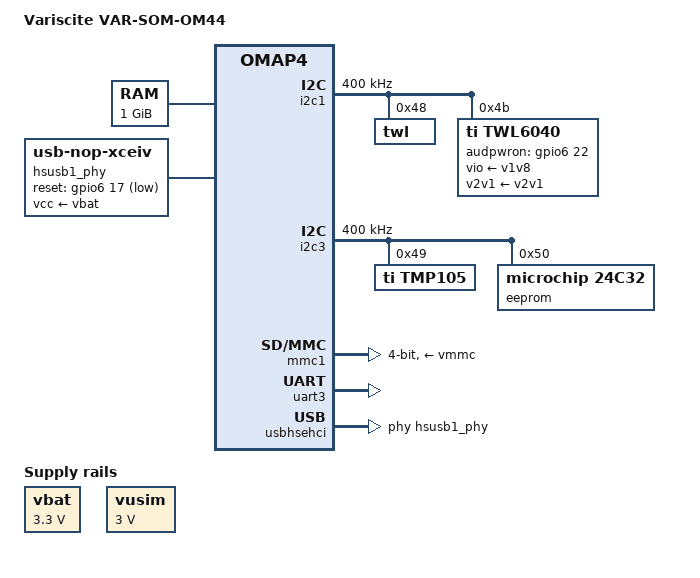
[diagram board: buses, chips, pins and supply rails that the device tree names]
// SPDX-License-Identifier: GPL-2.0-only
/*
 * Copyright (C) 2014 Joachim Eastwood <manabian@gmail.com>
 * Copyright (C) 2012 Variscite Ltd. - http://www.variscite.com
 */
#include "omap4460.dtsi"
#include "omap4-mcpdm.dtsi"

/ {
	model = "Variscite VAR-SOM-OM44";
	compatible = "variscite,var-som-om44", "ti,omap4460", "ti,omap4";

	memory@80000000 {
		device_type = "memory";
		reg = <0x80000000 0x40000000>; /* 1 GB */
	};

	sound: sound {
		compatible = "ti,abe-twl6040";
		ti,model = "VAR-SOM-OM44";

		ti,mclk-freq = <38400000>;
		ti,mcpdm = <&mcpdm>;
		ti,twl6040 = <&twl6040>;

		/* Audio routing */
		ti,audio-routing =
			"Headset Stereophone", "HSOL",
			"Headset Stereophone", "HSOR",
			"AFML", "Line In",
			"AFMR", "Line In";
	};

	/* HS USB Host PHY on PORT 1 */
	hsusb1_phy: hsusb1_phy {
		compatible = "usb-nop-xceiv";
		pinctrl-names = "default";
		pinctrl-0 = <
			&hsusbb1_phy_clk_pins
			&hsusbb1_phy_rst_pins
		>;

		reset-gpios = <&gpio6 17 GPIO_ACTIVE_LOW>; /* gpio 177 */
		vcc-supply = <&vbat>;
		#phy-cells = <0>;

		clocks = <&auxclk3_ck>;
		clock-names = "main_clk";
		clock-frequency = <19200000>;
	};

	vbat: fixedregulator-vbat {
		compatible = "regulator-fixed";
		regulator-name = "VBAT";
		regulator-min-microvolt = <3300000>;
		regulator-max-microvolt = <3300000>;
		regulator-always-on;
		regulator-boot-on;
	};
};

&omap4_pmx_core {
	pinctrl-names = "default";
	pinctrl-0 = <
			&hsusbb1_pins
	>;

	twl6040_pins: pinmux_twl6040_pins {
		pinctrl-single,pins = <
			OMAP4_IOPAD(0x19c, PIN_OUTPUT | MUX_MODE3)		/* fref_clk2_out.gpio_182 */
			OMAP4_IOPAD(0x1a0, PIN_INPUT | MUX_MODE0)		/* sys_nirq2.sys_nirq2 */
		>;
	};

	tsc2004_pins: pinmux_tsc2004_pins {
		pinctrl-single,pins = <
			OMAP4_IOPAD(0x090, PIN_INPUT | MUX_MODE3)		/* gpmc_ncs4.gpio_101 (irq) */
			OMAP4_IOPAD(0x092, PIN_OUTPUT | MUX_MODE3)		/* gpmc_ncs5.gpio_102 (rst) */
		>;
	};

	uart3_pins: pinmux_uart3_pins {
		pinctrl-single,pins = <
			OMAP4_IOPAD(0x140, PIN_INPUT_PULLUP | MUX_MODE0)	/* uart3_cts_rctx.uart3_cts_rctx */
			OMAP4_IOPAD(0x142, PIN_OUTPUT | MUX_MODE0)		/* uart3_rts_sd.uart3_rts_sd */
			OMAP4_IOPAD(0x144, PIN_INPUT | MUX_MODE0)		/* uart3_rx_irrx.uart3_rx_irrx */
			OMAP4_IOPAD(0x146, PIN_OUTPUT | MUX_MODE0)		/* uart3_tx_irtx.uart3_tx_irtx */
		>;
	};

	hsusbb1_pins: pinmux_hsusbb1_pins {
		pinctrl-single,pins = <
			OMAP4_IOPAD(0x0c2, PIN_INPUT_PULLDOWN | MUX_MODE4)	/* usbb1_ulpitll_clk.usbb1_ulpiphy_clk */
			OMAP4_IOPAD(0x0c4, PIN_OUTPUT | MUX_MODE4)		/* usbb1_ulpitll_stp.usbb1_ulpiphy_stp */
			OMAP4_IOPAD(0x0c6, PIN_INPUT_PULLDOWN | MUX_MODE4)	/* usbb1_ulpitll_dir.usbb1_ulpiphy_dir */
			OMAP4_IOPAD(0x0c8, PIN_INPUT_PULLDOWN | MUX_MODE4)	/* usbb1_ulpitll_nxt.usbb1_ulpiphy_nxt */
			OMAP4_IOPAD(0x0ca, PIN_INPUT_PULLDOWN | MUX_MODE4)	/* usbb1_ulpitll_dat0.usbb1_ulpiphy_dat0 */
			OMAP4_IOPAD(0x0cc, PIN_INPUT_PULLDOWN | MUX_MODE4)	/* usbb1_ulpitll_dat1.usbb1_ulpiphy_dat1 */
			OMAP4_IOPAD(0x0ce, PIN_INPUT_PULLDOWN | MUX_MODE4)	/* usbb1_ulpitll_dat2.usbb1_ulpiphy_dat2 */
			OMAP4_IOPAD(0x0d0, PIN_INPUT_PULLDOWN | MUX_MODE4)	/* usbb1_ulpitll_dat3.usbb1_ulpiphy_dat3 */
			OMAP4_IOPAD(0x0d2, PIN_INPUT_PULLDOWN | MUX_MODE4)	/* usbb1_ulpitll_dat4.usbb1_ulpiphy_dat4 */
			OMAP4_IOPAD(0x0d4, PIN_INPUT_PULLDOWN | MUX_MODE4)	/* usbb1_ulpitll_dat5.usbb1_ulpiphy_dat5 */
			OMAP4_IOPAD(0x0d6, PIN_INPUT_PULLDOWN | MUX_MODE4)	/* usbb1_ulpitll_dat6.usbb1_ulpiphy_dat6 */
			OMAP4_IOPAD(0x0d8, PIN_INPUT_PULLDOWN | MUX_MODE4)	/* usbb1_ulpitll_dat7.usbb1_ulpiphy_dat7 */
		>;
	};

	hsusbb1_phy_rst_pins: pinmux_hsusbb1_phy_rst_pins {
		pinctrl-single,pins = <
			OMAP4_IOPAD(0x18c, PIN_OUTPUT | MUX_MODE3)		/* kpd_row2.gpio_177 */
		>;
	};

	i2c1_pins: pinmux_i2c1_pins {
		pinctrl-single,pins = <
			OMAP4_IOPAD(0x122, PIN_INPUT_PULLUP | MUX_MODE0)	/* i2c1_scl */
			OMAP4_IOPAD(0x124, PIN_INPUT_PULLUP | MUX_MODE0)	/* i2c1_sda */
		>;
	};

	i2c3_pins: pinmux_i2c3_pins {
		pinctrl-single,pins = <
			OMAP4_IOPAD(0x12a, PIN_INPUT_PULLUP | MUX_MODE0)	/* i2c3_scl */
			OMAP4_IOPAD(0x12c, PIN_INPUT_PULLUP | MUX_MODE0)	/* i2c3_sda */
		>;
	};

	mmc1_pins: pinmux_mmc1_pins {
		pinctrl-single,pins = <
			OMAP4_IOPAD(0x0e2, PIN_INPUT_PULLUP | MUX_MODE0)	/* sdmmc1_clk.sdmmc1_clk */
			OMAP4_IOPAD(0x0e4, PIN_INPUT_PULLUP | MUX_MODE0)	/* sdmmc1_cmd.sdmmc1_cmd */
			OMAP4_IOPAD(0x0e6, PIN_INPUT_PULLUP | MUX_MODE0)	/* sdmmc1_dat0.sdmmc1_dat0 */
			OMAP4_IOPAD(0x0e8, PIN_INPUT_PULLUP | MUX_MODE0)	/* sdmmc1_dat1.sdmmc1_dat1 */
			OMAP4_IOPAD(0x0ea, PIN_INPUT_PULLUP | MUX_MODE0)	/* sdmmc1_dat2.sdmmc1_dat2 */
			OMAP4_IOPAD(0x0ec, PIN_INPUT_PULLUP | MUX_MODE0)	/* sdmmc1_dat3.sdmmc1_dat3 */
		>;
	};
};

&omap4_pmx_wkup {
	pinctrl-names = "default";
	pinctrl-0 = <
		&hsusbb1_hub_rst_pins
		&lan7500_rst_pins
	>;

	hsusbb1_phy_clk_pins: pinmux_hsusbb1_phy_clk_pins {
		pinctrl-single,pins = <
			OMAP4_IOPAD(0x058, PIN_OUTPUT | MUX_MODE0)	/* fref_clk3_out */
		>;
	};

	hsusbb1_hub_rst_pins: pinmux_hsusbb1_hub_rst_pins {
		pinctrl-single,pins = <
			OMAP4_IOPAD(0x042, PIN_OUTPUT | MUX_MODE3)	/* gpio_wk1 */
		>;
	};

	lan7500_rst_pins: pinmux_lan7500_rst_pins {
		pinctrl-single,pins = <
			OMAP4_IOPAD(0x040, PIN_OUTPUT | MUX_MODE3)	/* gpio_wk0 */
		>;
	};
};

&i2c1 {
	pinctrl-names = "default";
	pinctrl-0 = <&i2c1_pins>;
	status = "okay";

	clock-frequency = <400000>;

	twl: twl@48 {
		reg = <0x48>;
		/* SPI = 0, IRQ# = 7, 4 = active high level-sensitive */
		interrupts = <GIC_SPI 7 IRQ_TYPE_LEVEL_HIGH>; /* IRQ_SYS_1N cascaded to gic */
	};

	twl6040: twl@4b {
		compatible = "ti,twl6040";
		#clock-cells = <0>;
		reg = <0x4b>;

		pinctrl-names = "default";
		pinctrl-0 = <&twl6040_pins>;

		/* SPI = 0, IRQ# = 119, 4 = active high level-sensitive */
		interrupts = <GIC_SPI 119 IRQ_TYPE_LEVEL_HIGH>; /* IRQ_SYS_2N cascaded to gic */
		ti,audpwron-gpio = <&gpio6 22 GPIO_ACTIVE_HIGH>; /* gpio 182 */

		vio-supply = <&v1v8>;
		v2v1-supply = <&v2v1>;
		enable-active-high;
	};
};

#include "twl6030.dtsi"
#include "twl6030_omap4.dtsi"

&vusim {
	regulator-min-microvolt = <3000000>;
	regulator-max-microvolt = <3000000>;
	regulator-always-on;
};

&i2c2 {
	status = "disabled";
};

&i2c3 {
	pinctrl-names = "default";
	pinctrl-0 = <&i2c3_pins>;
	status = "okay";

	clock-frequency = <400000>;

	touchscreen: tsc2004@48 {
		compatible = "ti,tsc2004";
		reg = <0x48>;
		pinctrl-names = "default";
		pinctrl-0 = <&tsc2004_pins>;
		interrupt-parent = <&gpio4>;
		interrupts = <5 IRQ_TYPE_LEVEL_LOW>; /* gpio 101 */
		status = "disabled";
	};

	tmp105@49 {
		compatible = "ti,tmp105";
		reg = <0x49>;
	};

	eeprom@50 {
		compatible = "microchip,24c32", "atmel,24c32";
		reg = <0x50>;
	};
};

&i2c4 {
	status = "disabled";
};

&gpmc {
	status = "disabled";
};

&mcspi1 {
	status = "disabled";
};

&mcspi2 {
	status = "disabled";
};

&mcspi3 {
	status = "disabled";
};

&mcspi4 {
	status = "disabled";
};

&mmc1 {
	pinctrl-names = "default";
	pinctrl-0 = <&mmc1_pins>;
	vmmc-supply = <&vmmc>;
	bus-width = <4>;
	ti,non-removable;
	status = "okay";
};

&mmc2 {
	status = "disabled";
};

&mmc3 {
	status = "disabled";
};

&mmc4 {
	status = "disabled";
};

&mmc5 {
	status = "disabled";
};

&uart1 {
	status = "disabled";
};

&uart2 {
	status = "disabled";
};

&uart3 {
	pinctrl-names = "default";
	pinctrl-0 = <&uart3_pins>;
	status = "okay";
};

&uart4 {
	status = "disabled";
};

&keypad {
	status = "disabled";
};

&twl_usb_comparator {
	usb-supply = <&vusb>;
};

&usb_otg_hs {
	interface-type = <1>;
	mode = <3>;
	power = <50>;
};

&usbhshost {
	port1-mode = "ehci-phy";
};

&usbhsehci {
	phys = <&hsusb1_phy>;
};
